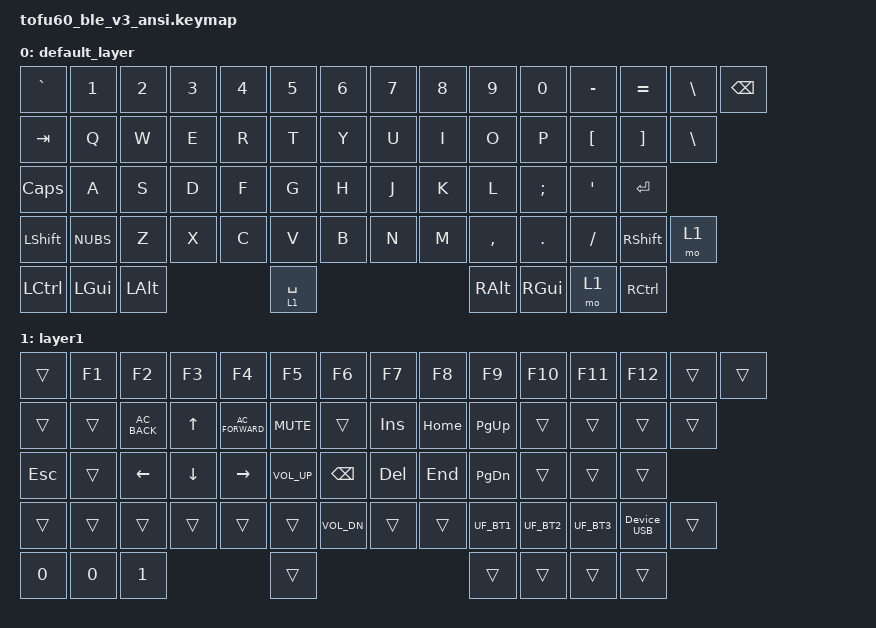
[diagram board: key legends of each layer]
#include "common.keymap"

#define UF_RESET bootloader_reset 0 0
#define UF_BT1 device_bt1 0 0
#define UF_BT2 device_bt2 0 1
#define UF_BT3 device_bt3 0 2

/ {
    keymap {
        compatible = "zmk,keymap";
        
        default_layer {

            bindings = <
    &kp GRAVE  &kp N1    &kp N2    &kp N3  &kp N4  &kp N5  &kp N6  &kp N7 &kp N8    &kp N9     &kp N0    &kp MINUS  &kp EQUAL   &kp BSLH  &kp BSPC
    &kp TAB    &kp Q     &kp W     &kp E   &kp R   &kp T   &kp Y   &kp U  &kp I     &kp O      &kp P     &kp LBKT   &kp RBKT    &kp BSLH
    &kp CAPS   &kp A     &kp S     &kp D   &kp F   &kp G   &kp H   &kp J  &kp K     &kp L      &kp SEMI  &kp SQT    &kp RET
    &kp LSHFT  &kp NUBS  &kp Z     &kp X   &kp C   &kp V   &kp B   &kp N  &kp M     &kp COMMA  &kp DOT   &kp FSLH   &kp RSHIFT  &mo 1
    &kp LCTRL  &kp LGUI  &kp LALT                  &lt 1 SPACE                      &kp RALT   &kp RGUI  &mo 1      &kp RCTRL
            >;
        };

        layer1 {
            bindings = <
    &trans   &kp F1  &kp F2         &kp F3    &kp F4            &kp F5        &kp F6        &kp F7   &kp F8    &kp F9       &kp F10  &kp F11  &kp F12      &trans  &trans
    &trans   &trans  &kp C_AC_BACK  &kp UP    &kp C_AC_FORWARD  &kp C_MUTE    &trans        &kp INS  &kp HOME  &kp PG_UP    &trans   &trans   &trans       &trans 
    &kp ESC  &trans  &kp LEFT       &kp DOWN  &kp RIGHT         &kp C_VOL_UP  &kp BSPC      &kp DEL  &kp END   &kp PG_DN    &trans   &trans   &trans
    &trans   &trans  &trans         &trans    &trans            &trans        &kp C_VOL_DN  &trans   &trans    &UF_BT1      &UF_BT2  &UF_BT3  &Device_USB  &trans
    &kp N0   &kp N0  &kp N1                                     &trans                                         &trans       &trans   &trans   &trans
            >;
        };
        layer2 { status = "reserved"; };
        layer3 { status = "reserved"; };
        layer4 { status = "reserved"; };
        layer5 { status = "reserved"; };
        layer6 { status = "reserved"; };
        layer7 { status = "reserved"; };
    };
};
